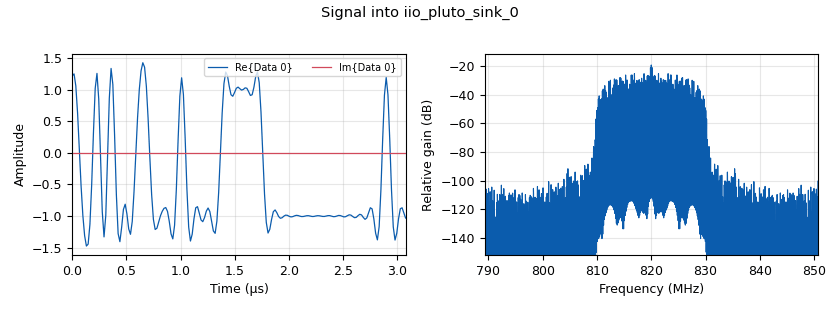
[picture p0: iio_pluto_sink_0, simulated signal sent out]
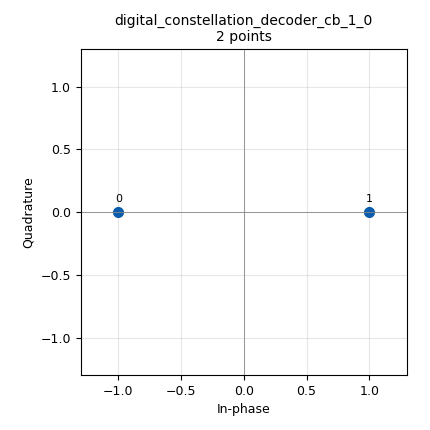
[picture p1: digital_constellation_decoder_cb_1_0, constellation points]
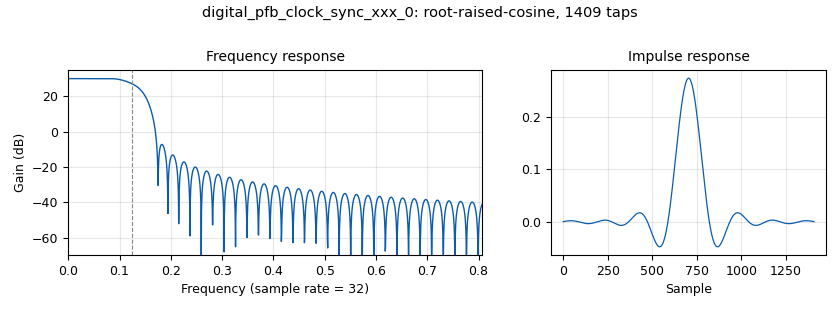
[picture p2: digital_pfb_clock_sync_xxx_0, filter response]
options:
  parameters:
    author: yabool2001
    copyright: mzemlo.pl@gmail.com
    description: BPSK test 02
    generate_options: qt_gui
    id: BPSK_test_02
    output_language: python
    title: BPSK test 02
  states: {}

blocks:
- name: bdw
  id: variable
  parameters:
    value: '20000000'
  states: {}
- name: const_obj
  id: variable_constellation
  parameters:
    npwr: '1'
    precision: '8'
    type: bpsk
  states: {}
- name: f_o
  id: variable
  parameters:
    value: '820000000'
  states: {}
- name: nfilts
  id: variable
  parameters:
    value: '32'
  states: {}
- name: pluto_context_uri
  id: variable
  parameters:
    value: '"ip:192.168.2.1"'
  states: {}
- name: pluto_context_usb
  id: variable
  parameters:
    value: '"usb:"'
  states: {}
- name: rrc_taps
  id: variable
  parameters:
    value: firdes.root_raised_cosine(nfilts, nfilts, 1.0/float(sps), 0.35, 11*sps*nfilts)
  states: {}
- name: samp_rate
  id: variable
  parameters:
    value: '61440000'
  states: {}
- name: sps
  id: variable
  parameters:
    value: '4'
  states: {}
- name: blocks_file_sink_0
  id: blocks_file_sink
  parameters:
    file: '"05_byte_rx_log.bin"'
    type: byte
  states: {}
- name: blocks_message_strobe_1
  id: blocks_message_strobe
  parameters:
    comment: |-
      HEX: 0x11
      BIN: 0b00010001
      DEC: 17
    msg: pmt.cons ( pmt.PMT_NIL , pmt.make_u8vector ( 1 , 0x11 ) )
    period: '1000'
  states: {}
- name: blocks_pack_k_bits_bb_0
  id: blocks_pack_k_bits_bb
  parameters:
    k: '8'
  states: {}
- name: blocks_pack_k_bits_bb_0_0
  id: blocks_pack_k_bits_bb
  parameters:
    k: '8'
  states: {}
- name: blocks_tagged_stream_mux_0
  id: blocks_tagged_stream_mux
  parameters:
    comment: Append header to payload
    lengthtagname: '"packet_len"'
    ninputs: '2'
    type: byte
  states: {}
- name: digital_constellation_decoder_cb_1_0
  id: digital_constellation_decoder_cb
  parameters:
    constellation: const_obj
  states: {}
- name: digital_constellation_modulator_0
  id: digital_constellation_modulator
  parameters:
    constellation: const_obj
    differential: 'False'
    excess_bw: '0.35'
    log: 'True'
    samples_per_symbol: sps
    verbose: 'True'
  states: {}
- name: digital_correlate_access_code_xx_ts_1_0
  id: digital_correlate_access_code_xx_ts
  parameters:
    access_code: digital.packet_utils.default_access_code
    comment: Correlates with access code to extract the payload.
    tagname: '"packet_len"'
    threshold: '0'
    type: byte
  states: {}
- name: digital_pfb_clock_sync_xxx_0
  id: digital_pfb_clock_sync_xxx
  parameters:
    filter_size: '32'
    init_phase: '16'
    loop_bw: '0.0628'
    max_dev: '1.5'
    osps: '1'
    sps: sps
    taps: rrc_taps
    type: ccf
  states: {}
- name: digital_protocol_formatter_bb_0
  id: digital_protocol_formatter_bb
  parameters:
    comment: Generate header
    format: header_format
    len_tag_key: '"packet_len"'
  states: {}
- name: epy_block_0_0
  id: epy_block
  parameters:
    _source_code: |
      from gnuradio import gr
      import numpy as np
      import time
      import os

      class complex_sps_file_sink(gr.sync_block):
          def __init__(self, samp_rate=32000, sps=2, filename="complex_log.csv"):
              gr.sync_block.__init__(self,
                  name="Complex Sps File Sink",
                  in_sig=[np.complex64],
                  out_sig=None)
              self.filename = filename
              self.samp_rate = samp_rate
              self.sps = sps
              self.start_time = time.time()
              self.sample_index = 0  # licznik próbek

              file_exists = os.path.isfile(filename)
              self.f = open(filename, "w", encoding="utf-8")

              if not file_exists or os.stat(filename).st_size == 0:
                  self.f.write("timestamp;real;imag;symbol_index;samp_rate\n")

          def work(self, input_items, output_items):
              elapsed = time.time() - self.start_time
              for c in input_items[0]:
                  timestamp = elapsed
                  ts = f"{timestamp:.6f}".replace('.', ',')
                  re = f"{c.real:.6f}".replace('.', ',')
                  im = f"{c.imag:.6f}".replace('.', ',')
                  symbol_idx = str(self.sample_index // self.sps)
                  sr = f"{self.samp_rate:.0f}".replace('.', ',')

                  self.f.write(f"{ts};{re};{im};{symbol_idx};{sr}\n")

                  elapsed += 1 / self.samp_rate
                  self.sample_index += 1

              self.f.flush()
              return len(input_items[0])
    filename: '"04_complex_rx_log.csv"'
    samp_rate: samp_rate
    sps: sps
  states: {state: disabled}
- name: epy_block_1_0
  id: epy_block
  parameters:
    _source_code: |
      from gnuradio import gr
      import numpy as np
      import time
      import os

      class byte_logger(gr.sync_block):
          def __init__(self, samp_rate=32000, filename="byte_log.csv"):
              gr.sync_block.__init__(self,
                  name="BYTE FILE SINK",
                  in_sig=[np.uint8],
                  out_sig=None)
              self.filename = filename
              self.samp_rate = samp_rate
              self.start_time = time.time()

              file_exists = os.path.isfile(filename)
              self.f = open(filename, "w", encoding="utf-8")

              if not file_exists or os.stat(filename).st_size == 0:
                  self.f.write("timestamp;byte;samp_rate\n")

          def work(self, input_items, output_items):
              current_time = time.time()
              elapsed = current_time - self.start_time

              for i, b in enumerate(input_items[0]):
                  timestamp = elapsed + (i / self.samp_rate)
                  ts = f"{timestamp:.6f}".replace('.', ',')
                  val = str(b)
                  sr = f"{self.samp_rate:.0f}".replace('.', ',')
                  self.f.write(f"{ts};{val};{sr}\n")

              self.f.flush()
              return len(input_items[0])
    filename: '"07_byte_rx_log.csv"'
    samp_rate: samp_rate
  states: {}
- name: epy_block_1_0_0
  id: epy_block
  parameters:
    _source_code: |
      from gnuradio import gr
      import numpy as np
      import time
      import os

      class byte_logger(gr.sync_block):
          def __init__(self, samp_rate=32000, filename="byte_log.csv"):
              gr.sync_block.__init__(self,
                  name="BYTE FILE SINK",
                  in_sig=[np.uint8],
                  out_sig=None)
              self.filename = filename
              self.samp_rate = samp_rate
              self.start_time = time.time()

              file_exists = os.path.isfile(filename)
              self.f = open(filename, "w", encoding="utf-8")

              if not file_exists or os.stat(filename).st_size == 0:
                  self.f.write("timestamp;byte;samp_rate\n")

          def work(self, input_items, output_items):
              current_time = time.time()
              elapsed = current_time - self.start_time

              for i, b in enumerate(input_items[0]):
                  timestamp = elapsed + (i / self.samp_rate)
                  ts = f"{timestamp:.6f}".replace('.', ',')
                  val = str(b)
                  sr = f"{self.samp_rate:.0f}".replace('.', ',')
                  self.f.write(f"{ts};{val};{sr}\n")

              self.f.flush()
              return len(input_items[0])
    filename: '"02_byte_tx_log.csv"'
    samp_rate: samp_rate
  states: {state: disabled}
- name: epy_block_1_0_0_0
  id: epy_block
  parameters:
    _source_code: |
      from gnuradio import gr
      import numpy as np
      import time
      import os

      class byte_logger(gr.sync_block):
          def __init__(self, samp_rate=32000, filename="byte_log.csv"):
              gr.sync_block.__init__(self,
                  name="BYTE FILE SINK",
                  in_sig=[np.uint8],
                  out_sig=None)
              self.filename = filename
              self.samp_rate = samp_rate
              self.start_time = time.time()

              file_exists = os.path.isfile(filename)
              self.f = open(filename, "w", encoding="utf-8")

              if not file_exists or os.stat(filename).st_size == 0:
                  self.f.write("timestamp;byte;samp_rate\n")

          def work(self, input_items, output_items):
              current_time = time.time()
              elapsed = current_time - self.start_time

              for i, b in enumerate(input_items[0]):
                  timestamp = elapsed + (i / self.samp_rate)
                  ts = f"{timestamp:.6f}".replace('.', ',')
                  val = str(b)
                  sr = f"{self.samp_rate:.0f}".replace('.', ',')
                  self.f.write(f"{ts};{val};{sr}\n")

              self.f.flush()
              return len(input_items[0])
    filename: '"01_byte_tx_log.csv"'
    samp_rate: samp_rate
  states: {state: disabled}
- name: epy_block_1_0_0_0_0
  id: epy_block
  parameters:
    _source_code: |
      from gnuradio import gr
      import numpy as np
      import time
      import os

      class byte_logger(gr.sync_block):
          def __init__(self, samp_rate=32000, filename="byte_log.csv"):
              gr.sync_block.__init__(self,
                  name="BYTE FILE SINK",
                  in_sig=[np.uint8],
                  out_sig=None)
              self.filename = filename
              self.samp_rate = samp_rate
              self.start_time = time.time()

              file_exists = os.path.isfile(filename)
              self.f = open(filename, "w", encoding="utf-8")

              if not file_exists or os.stat(filename).st_size == 0:
                  self.f.write("timestamp;byte;samp_rate\n")

          def work(self, input_items, output_items):
              current_time = time.time()
              elapsed = current_time - self.start_time

              for i, b in enumerate(input_items[0]):
                  timestamp = elapsed + (i / self.samp_rate)
                  ts = f"{timestamp:.6f}".replace('.', ',')
                  val = str(b)
                  sr = f"{self.samp_rate:.0f}".replace('.', ',')
                  self.f.write(f"{ts};{val};{sr}\n")

              self.f.flush()
              return len(input_items[0])
    filename: '"03_byte_tx_log.csv"'
    samp_rate: samp_rate
  states: {state: disabled}
- name: epy_block_1_0_1
  id: epy_block
  parameters:
    _source_code: |
      from gnuradio import gr
      import numpy as np
      import time
      import os

      class byte_logger(gr.sync_block):
          def __init__(self, samp_rate=32000, filename="byte_log.csv"):
              gr.sync_block.__init__(self,
                  name="BYTE FILE SINK",
                  in_sig=[np.uint8],
                  out_sig=None)
              self.filename = filename
              self.samp_rate = samp_rate
              self.start_time = time.time()

              file_exists = os.path.isfile(filename)
              self.f = open(filename, "w", encoding="utf-8")

              if not file_exists or os.stat(filename).st_size == 0:
                  self.f.write("timestamp;byte;samp_rate\n")

          def work(self, input_items, output_items):
              current_time = time.time()
              elapsed = current_time - self.start_time

              for i, b in enumerate(input_items[0]):
                  timestamp = elapsed + (i / self.samp_rate)
                  ts = f"{timestamp:.6f}".replace('.', ',')
                  val = str(b)
                  sr = f"{self.samp_rate:.0f}".replace('.', ',')
                  self.f.write(f"{ts};{val};{sr}\n")

              self.f.flush()
              return len(input_items[0])
    filename: '"06_byte_rx_log.csv"'
    samp_rate: samp_rate
  states: {state: disabled}
- name: header_format
  id: parameter
  parameters:
    label: Header Format
    value: digital.header_format_default(digital.packet_utils.default_access_code, 0)
  states: {}
- name: iio_pluto_sink_0
  id: iio_pluto_sink
  parameters:
    attenuation1: '1.0'
    bandwidth: bdw
    buffer_size: '32768'
    cyclic: 'False'
    filter_source: '''Auto'''
    frequency: f_o
    len_tag_key: packet_len
    samplerate: samp_rate
    type: fc32
    uri: pluto_context_usb
  states: {}
- name: iio_pluto_source_0
  id: iio_pluto_source
  parameters:
    bandwidth: bdw
    bbdc: 'True'
    buffer_size: '32768'
    filter_source: '''Auto'''
    frequency: f_o
    gain1: '''fast_attack'''
    manual_gain1: '70'
    quadrature: 'True'
    rfdc: 'True'
    samplerate: samp_rate
    type: fc32
    uri: pluto_context_usb
  states: {}
- name: pdu_pdu_to_tagged_stream_0
  id: pdu_pdu_to_tagged_stream
  parameters:
    tag: packet_len
    type: byte
  states: {}
- name: qtgui_const_sink_x_0_0
  id: qtgui_const_sink_x
  parameters:
    name: '"Tx constellation"'
    size: sps
    type: complex
  states: {state: disabled}
- name: qtgui_const_sink_x_0_0_0
  id: qtgui_const_sink_x
  parameters:
    name: '"Rx constellation"'
    size: sps*8
    type: complex
  states: {}
- name: qtgui_time_sink_x_0_0
  id: qtgui_time_sink_x
  parameters:
    name: '"Tx Time"'
    size: 4*sps
    srate: samp_rate
    type: complex
    ymax: '2'
    ymin: '-2'
  states: {state: disabled}

connections:
- [blocks_message_strobe_1, strobe, pdu_pdu_to_tagged_stream_0, pdus]
- [blocks_pack_k_bits_bb_0, '0', epy_block_1_0, '0']
- [blocks_pack_k_bits_bb_0_0, '0', blocks_file_sink_0, '0']
- [blocks_tagged_stream_mux_0, '0', digital_constellation_modulator_0, '0']
- [blocks_tagged_stream_mux_0, '0', epy_block_1_0_0_0_0, '0']
- [digital_constellation_decoder_cb_1_0, '0', blocks_pack_k_bits_bb_0_0, '0']
- [digital_constellation_decoder_cb_1_0, '0', digital_correlate_access_code_xx_ts_1_0, '0']
- [digital_constellation_modulator_0, '0', iio_pluto_sink_0, '0']
- [digital_constellation_modulator_0, '0', qtgui_const_sink_x_0_0, '0']
- [digital_constellation_modulator_0, '0', qtgui_time_sink_x_0_0, '0']
- [digital_correlate_access_code_xx_ts_1_0, '0', blocks_pack_k_bits_bb_0, '0']
- [digital_correlate_access_code_xx_ts_1_0, '0', epy_block_1_0_1, '0']
- [digital_pfb_clock_sync_xxx_0, '0', digital_constellation_decoder_cb_1_0, '0']
- [digital_pfb_clock_sync_xxx_0, '0', qtgui_const_sink_x_0_0_0, '0']
- [digital_protocol_formatter_bb_0, '0', blocks_tagged_stream_mux_0, '0']
- [digital_protocol_formatter_bb_0, '0', epy_block_1_0_0, '0']
- [iio_pluto_source_0, '0', digital_pfb_clock_sync_xxx_0, '0']
- [pdu_pdu_to_tagged_stream_0, '0', blocks_tagged_stream_mux_0, '1']
- [pdu_pdu_to_tagged_stream_0, '0', digital_protocol_formatter_bb_0, '0']
- [pdu_pdu_to_tagged_stream_0, '0', epy_block_1_0_0_0, '0']

metadata:
  file_format: 1
  grc_version: 3.10.12.0
